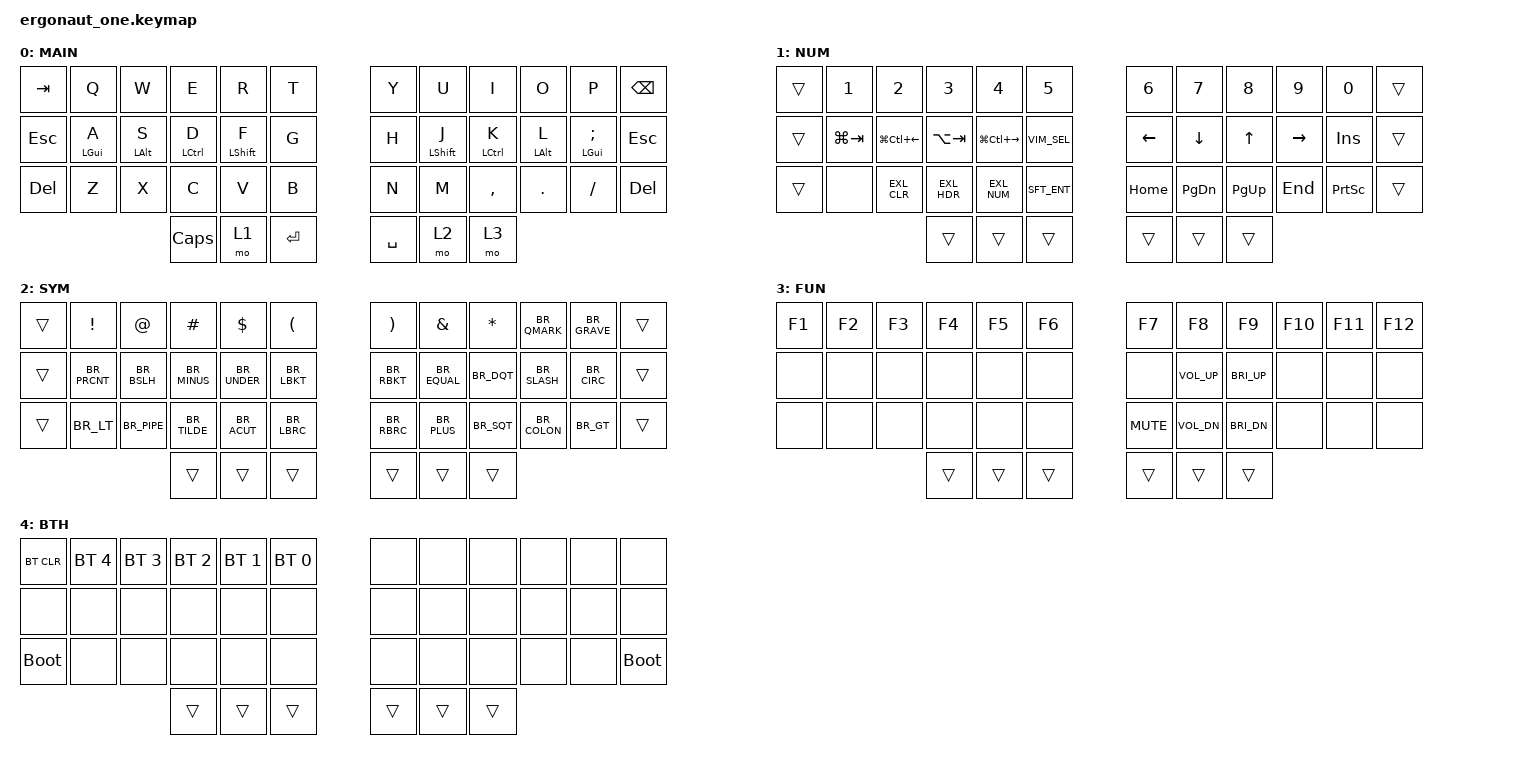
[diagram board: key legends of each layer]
#include <behaviors.dtsi>
#include <dt-bindings/zmk/bt.h>
#include <dt-bindings/zmk/keys.h>
#include "keys_br_abnt2.h"

#define DEF 0
#define NUM 1
#define SYM 2
#define FUN 3
#define BTH 4

&lt { quick-tap-ms = <175>; };

&mt { quick-tap-ms = <175>; };

/ {

    conditional_layers {
        compatible = "zmk,conditional-layers";
        tri_layer {
            if-layers = <1 2>;
            then-layer = <4>;
        };
    };

    macros {
        VIM_SEL: VIM_SEL {
            compatible = "zmk,behavior-macro";
            #binding-cells = <0>;
            bindings
                = <&macro_tap &kp ESC &kp V &kp A &kp P>
                ;
        };

        SFT_ENT: SFT_ENT {
            compatible = "zmk,behavior-macro";
            #binding-cells = <0>;
            bindings
                = <&macro_press &kp LSHFT>
                , <&macro_tap &kp RET>
                , <&macro_release &kp LSHFT>
                , <&macro_tap &kp ESC>
                ;
        };

        EXL_HDR: EXL_HDR {
            compatible = "zmk,behavior-macro";
            #binding-cells = <0>;
            bindings
                = <&macro_press &kp LSHFT>
                , <&macro_tap &kp SPACE>
                , <&macro_release &kp LSHFT>
                , <&macro_press &kp LCTRL>
                , <&macro_tap &kp N>
                , <&macro_release &kp LCTRL>
                , <&macro_tap &kp LALT &kp S &kp F &kp N1>
                , <&macro_tap &kp LALT &kp K &kp S &kp R>
                ;
        };

        EXL_CLR: EXL_CLR {
            compatible = "zmk,behavior-macro";
            #binding-cells = <0>;
            bindings
                = <&macro_tap &kp LALT &kp C &kp E &kp I &kp F>
                ;
        };

        EXL_NUM: EXL_NUM {
            compatible = "zmk,behavior-macro";
            #binding-cells = <0>;
            bindings
                = <&macro_press &kp LCTRL>
                , <&macro_press &kp LSHFT>
                , <&macro_tap &kp F>
                , <&macro_release &kp LSHFT>
                , <&macro_release &kp LCTRL>
                , <&macro_tap &kp LEFT &kp LEFT &kp TAB>
                , <&macro_press &kp LCTRL>
                , <&macro_tap &kp END>
                , <&macro_release &kp LCTRL>
                , <&macro_tap &kp TAB &kp HASH &kp RET>
                ;
        };
    };

    behaviors {
        bhm: balanced_homerow_mods {
            compatible = "zmk,behavior-hold-tap";
            #binding-cells = <2>;
            tapping-term-ms = <175>;    // <---[[moderate duration]]
            quick-tap-ms = <0>;
            flavor = "balanced";
            bindings = <&kp>, <&kp>;
        };
    };

    keymap {
        compatible = "zmk,keymap";

        default_layer {
            display-name = "MAIN";
            bindings = <
&kp TAB     &kp Q           &kp W               &kp E           &kp R               &kp T               &kp Y           &kp U           &kp I           &kp O           &kp P           &kp BSPC
&kp ESC     &bhm LGUI A     &bhm LALT S         &bhm LCTRL D    &bhm LSHFT F        &kp G               &kp H           &bhm LSHFT J    &bhm LCTRL K    &bhm LALT L     &bhm LGUI SEMI  &kp ESC
&kp DEL     &kp Z           &kp X               &kp C           &kp V               &kp B               &kp N           &kp M           &kp COMMA       &kp DOT         &kp FSLH        &kp DEL
                                                &kp CAPS        &mo 1               &kp RET             &kp SPACE       &mo 2           &mo 3
            >;
        };

        num_layer {
            display-name = "NUM";
            bindings = <
&trans      &kp N1          &kp N2              &kp N3          &kp N4              &kp N5              &kp N6          &kp N7          &kp N8          &kp N9          &kp N0          &trans
&trans      &kp LG(TAB)     &kp LG(LC(LEFT))    &kp LA(TAB)     &kp LG(LC(RIGHT))   &VIM_SEL            &kp LEFT        &kp DOWN        &kp UP          &kp RIGHT       &kp INS         &trans
&trans      &none           &EXL_CLR            &EXL_HDR        &EXL_NUM            &SFT_ENT            &kp HOME        &kp PG_DN       &kp PG_UP       &kp END         &kp PSCRN       &trans
                                                &trans          &trans              &trans              &trans          &trans          &trans
            >;
        };

        sym_layer {
            display-name = "SYM";
            bindings = <
&trans      &kp EXCL        &kp AT              &kp HASH        &kp DLLR            &kp LPAR            &kp RPAR        &kp AMPS        &kp STAR        &kp BR_QMARK    &kp BR_GRAVE    &trans
&trans      &kp BR_PRCNT    &kp BR_BSLH         &kp BR_MINUS    &kp BR_UNDER        &kp BR_LBKT         &kp BR_RBKT     &kp BR_EQUAL    &kp BR_DQT      &kp BR_SLASH    &kp BR_CIRC     &trans
&trans      &kp BR_LT       &kp BR_PIPE         &kp BR_TILDE    &kp BR_ACUT         &kp BR_LBRC         &kp BR_RBRC     &kp BR_PLUS     &kp BR_SQT      &kp BR_COLON    &kp BR_GT       &trans
                                                &trans          &trans              &trans              &trans          &trans          &trans
            >;
        };

        fun_layer {
            display-name = "FUN";
            bindings = <
&kp F1      &kp F2          &kp F3              &kp F4          &kp F5              &kp F6              &kp F7          &kp F8          &kp F9          &kp F10     &kp F11         &kp F12
&none       &none           &none               &none           &none               &none               &none           &kp C_VOL_UP    &kp C_BRI_UP    &none       &none           &none
&none       &none           &none               &none           &none               &none               &kp C_MUTE      &kp C_VOL_DN    &kp C_BRI_DN    &none       &none           &none
                                                &trans          &trans              &trans              &trans          &trans          &trans
            >;
        };

        bluetooth_layer {
            display-name = "BTH";
            bindings = <
&bt BT_CLR  &bt BT_SEL 4    &bt BT_SEL 3        &bt BT_SEL 2    &bt BT_SEL 1        &bt BT_SEL 0        &none           &none           &none           &none       &none           &none
&none       &none           &none               &none           &none               &none               &none           &none           &none           &none       &none           &none
&bootloader &none           &none               &none           &none               &none               &none           &none           &none           &none       &none           &bootloader
                                                &trans          &trans              &trans              &trans          &trans          &trans
            >;
        };
    };
};
